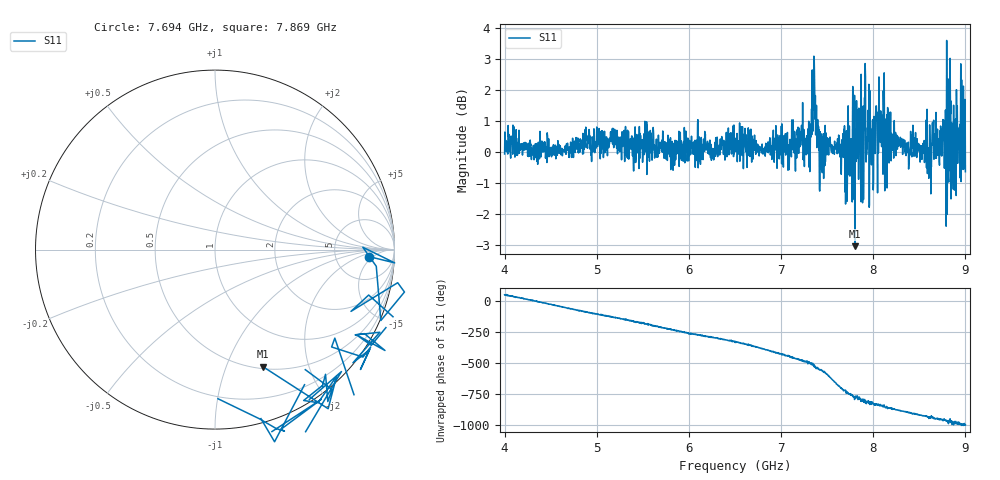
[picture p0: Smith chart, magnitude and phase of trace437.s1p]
! Created with skrf 1.8.0 (http://scikit-rf.org).
# Hz S RI R 50.0
!freq ReS11 ImS11
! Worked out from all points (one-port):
!   1601 points, 4 GHz to 9 GHz, reference 50 ohm
!   lowest |S11| = -3.0 dB at 7.8 GHz (marker M1), VSWR 5.76, Z = 26.2 - j67.7 ohm
!   |S11| at or under -10 dB: nowhere
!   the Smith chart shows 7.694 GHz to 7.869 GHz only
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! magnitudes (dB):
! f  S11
! 4 GHz  -0.1
! 4.625 GHz  -0.1
! 4.897 GHz  0.2
! 5.25 GHz  0.0
! 5.875 GHz  0.0
! 6.5 GHz  0.4
! 7.125 GHz  0.1
! 7.209 GHz  0.6
! 7.291 GHz  -0.1
! 7.353 GHz  1.4
! 7.381 GHz  0.6
! 7.4 GHz  0.3
! 7.441 GHz  0.5
! 7.509 GHz  0.2
! 7.75 GHz  0.2
! 7.8 GHz  -3.0
! 7.928 GHz  -0.1
! 7.981 GHz  -0.4
! 8.097 GHz  0.2
! 8.375 GHz  0.0
! 8.559 GHz  -0.1
! 8.612 GHz  0.9
! 8.662 GHz  0.3
! 8.766 GHz  1.0
! 8.831 GHz  -0.4
! 8.869 GHz  -1.2
! 8.972 GHz  0.5
! 9 GHz  -0.6
